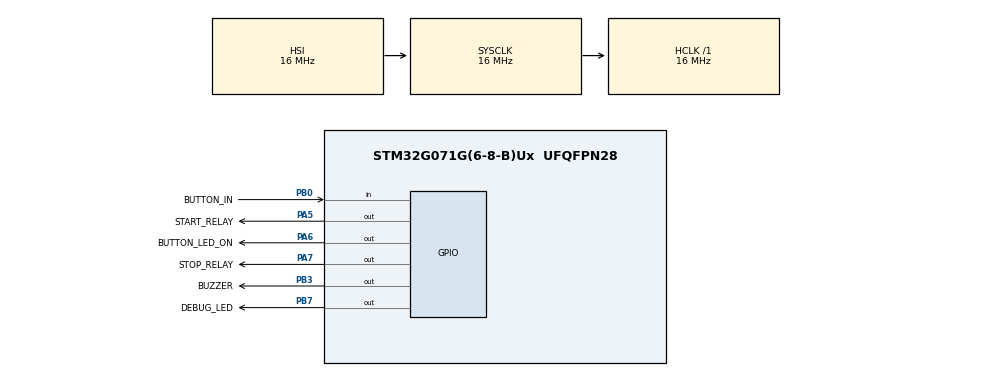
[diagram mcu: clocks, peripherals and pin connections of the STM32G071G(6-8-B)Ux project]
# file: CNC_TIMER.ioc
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IWDG.Prescaler=IWDG_PRESCALER_256
Mcu.Family=STM32G0
Mcu.Name=STM32G071G(6-8-B)Ux
Mcu.Package=UFQFPN28
PA13.Mode=Serial_Wire
PA13.Signal=SYS_SWDIO
PA14-BOOT0.Mode=Serial_Wire
PA14-BOOT0.Signal=SYS_SWCLK
PA5.GPIO_Label=START_RELAY
PA5.Signal=GPIO_Output
PA6.GPIO_Label=BUTTON_LED_ON
PA6.Signal=GPIO_Output
PA7.GPIO_Label=STOP_RELAY
PA7.Signal=GPIO_Output
PB0.GPIO_Label=BUTTON_IN
PB0.Signal=GPIO_Input
PB3.GPIO_Label=BUZZER
PB3.Signal=GPIO_Output
PB7.GPIO_Label=DEBUG_LED
PB7.Signal=GPIO_Output
ProjectManager.HeapSize=0x200
ProjectManager.StackSize=0x400
ProjectManager.TargetToolchain=EWARM V8.50
RCC.AHBFreq_Value=16000000
RCC.CortexFreq_Value=16000000
RCC.EXTERNAL_CLOCK_VALUE=48000
RCC.HCLKFreq_Value=16000000
RCC.HSE_VALUE=8000000
RCC.HSI_VALUE=16000000
RCC.LSE_VALUE=32768
RCC.SYSCLKFreq_VALUE=16000000
RCC.VCOOutputFreq_Value=128000000
VP_IWDG_VS_IWDG.Mode=IWDG_Activate
board=custom

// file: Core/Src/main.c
/* USER CODE BEGIN Header */
/**
  ******************************************************************************
  * @file           : main.c
  * @brief          : Main program body
  ******************************************************************************
  * @attention
  *
  * Copyright (c) 2026 STMicroelectronics.
  * All rights reserved.
  *
  * This software is licensed under terms that can be found in the LICENSE file
  * in the root directory of this software component.
  * If no LICENSE file comes with this software, it is provided AS-IS.
  *
  ******************************************************************************
  */
/* USER CODE END Header */
#include "main.h"

/* USER CODE BEGIN Includes */
#include "app.h"
#include "button.h"
#include "buzzer.h"
#include "cycle.h"
#include "debug_led.h"
#include "indicator.h"
#include "relay.h"
#include "settings.h"
/* USER CODE END Includes */

IWDG_HandleTypeDef hiwdg;

/* USER CODE BEGIN PV */
static volatile uint32_t g_loops;   /* main loop iterations, for Live Watch */

/* USER CODE END PV */

void SystemClock_Config(void);
static void MX_GPIO_Init(void);
static void MX_IWDG_Init(void);

int main(void)
{

  /* MCU Configuration--------------------------------------------------------*/

  /* Reset of all peripherals, Initializes the Flash interface and the Systick. */
  HAL_Init();

  /* Configure the system clock */
  SystemClock_Config();

  /* Initialize all configured peripherals */
  MX_GPIO_Init();
  MX_IWDG_Init();
  /* USER CODE BEGIN 2 */
  /* Relay_Init() already ran inside MX_GPIO_Init(): see MX_GPIO_Init_2. */
  Button_Init();
  Cycle_Init();
  Indicator_Init();
  Buzzer_Init();
  Settings_Init();
  App_Init();

  /* Start-up finished without an error: HL1 lights up and stays lit. */
  DebugLed_Init();
  /* USER CODE END 2 */

  /* Infinite loop */
  while (1)
  {

    /* USER CODE BEGIN 3 */
    /* The IWDG resets the MCU after ~32.7 s (LSI / 256, reload 4095). */
    HAL_IWDG_Refresh(&hiwdg);

    g_loops++;

    DebugLed_Task();
    Buzzer_Task();
    Indicator_Task();
    Cycle_Task();
    App_Task();
  }
  /* USER CODE END 3 */
}

void SystemClock_Config(void)
{
  RCC_OscInitTypeDef RCC_OscInitStruct = {0};
  RCC_ClkInitTypeDef RCC_ClkInitStruct = {0};

  /** Configure the main internal regulator output voltage
  */
  HAL_PWREx_ControlVoltageScaling(PWR_REGULATOR_VOLTAGE_SCALE1);

  /** Initializes the RCC Oscillators according to the specified parameters
  * in the RCC_OscInitTypeDef structure.
  */
  RCC_OscInitStruct.OscillatorType = RCC_OSCILLATORTYPE_HSI|RCC_OSCILLATORTYPE_LSI;
  RCC_OscInitStruct.HSIState = RCC_HSI_ON;
  RCC_OscInitStruct.HSIDiv = RCC_HSI_DIV1;
  RCC_OscInitStruct.HSICalibrationValue = RCC_HSICALIBRATION_DEFAULT;
  RCC_OscInitStruct.LSIState = RCC_LSI_ON;
  RCC_OscInitStruct.PLL.PLLState = RCC_PLL_NONE;
  if (HAL_RCC_OscConfig(&RCC_OscInitStruct) != HAL_OK)
  {
    Error_Handler();
  }

  /** Initializes the CPU, AHB and APB buses clocks
  */
  RCC_ClkInitStruct.ClockType = RCC_CLOCKTYPE_HCLK|RCC_CLOCKTYPE_SYSCLK
                              |RCC_CLOCKTYPE_PCLK1;
  RCC_ClkInitStruct.SYSCLKSource = RCC_SYSCLKSOURCE_HSI;
  RCC_ClkInitStruct.AHBCLKDivider = RCC_SYSCLK_DIV1;
  RCC_ClkInitStruct.APB1CLKDivider = RCC_HCLK_DIV1;

  if (HAL_RCC_ClockConfig(&RCC_ClkInitStruct, FLASH_LATENCY_0) != HAL_OK)
  {
    Error_Handler();
  }
}

static void MX_IWDG_Init(void)
{

  hiwdg.Instance = IWDG;
  hiwdg.Init.Prescaler = IWDG_PRESCALER_256;
  hiwdg.Init.Window = 4095;
  hiwdg.Init.Reload = 4095;
  if (HAL_IWDG_Init(&hiwdg) != HAL_OK)
  {
    Error_Handler();
  }

}

static void MX_GPIO_Init(void)
{
  GPIO_InitTypeDef GPIO_InitStruct = {0};

  /* GPIO Ports Clock Enable */
  __HAL_RCC_GPIOA_CLK_ENABLE();
  __HAL_RCC_GPIOB_CLK_ENABLE();

  /*Configure GPIO pin Output Level */
  HAL_GPIO_WritePin(GPIOA, STOP_RELAY_Pin|BUTTON_LED_ON_Pin|START_RELAY_Pin, GPIO_PIN_RESET);

  /*Configure GPIO pin Output Level */
  HAL_GPIO_WritePin(GPIOB, BUZZER_Pin|DEBUG_LED_Pin, GPIO_PIN_RESET);

  /*Configure GPIO pins : STOP_RELAY_Pin BUTTON_LED_ON_Pin START_RELAY_Pin */
  GPIO_InitStruct.Pin = STOP_RELAY_Pin|BUTTON_LED_ON_Pin|START_RELAY_Pin;
  GPIO_InitStruct.Mode = GPIO_MODE_OUTPUT_PP;
  GPIO_InitStruct.Pull = GPIO_NOPULL;
  GPIO_InitStruct.Speed = GPIO_SPEED_FREQ_LOW;
  HAL_GPIO_Init(GPIOA, &GPIO_InitStruct);

  /*Configure GPIO pin : BUTTON_IN_Pin */
  GPIO_InitStruct.Pin = BUTTON_IN_Pin;
  GPIO_InitStruct.Mode = GPIO_MODE_INPUT;
  GPIO_InitStruct.Pull = GPIO_NOPULL;
  HAL_GPIO_Init(BUTTON_IN_GPIO_Port, &GPIO_InitStruct);

  /*Configure GPIO pins : BUZZER_Pin DEBUG_LED_Pin */
  GPIO_InitStruct.Pin = BUZZER_Pin|DEBUG_LED_Pin;
  GPIO_InitStruct.Mode = GPIO_MODE_OUTPUT_PP;
  GPIO_InitStruct.Pull = GPIO_NOPULL;
  GPIO_InitStruct.Speed = GPIO_SPEED_FREQ_LOW;
  HAL_GPIO_Init(GPIOB, &GPIO_InitStruct);

  /* USER CODE BEGIN MX_GPIO_Init_2 */
  /* Both relays rest with their coils off, which is exactly the LOW the lines
     above have just driven. Relay_Init() only makes the driver's own state
     match the pins from the first microsecond. */
  Relay_Init();
  /* USER CODE END MX_GPIO_Init_2 */
}

void Error_Handler(void)
{
  __disable_irq();
  while (1)
  {
  }
}
